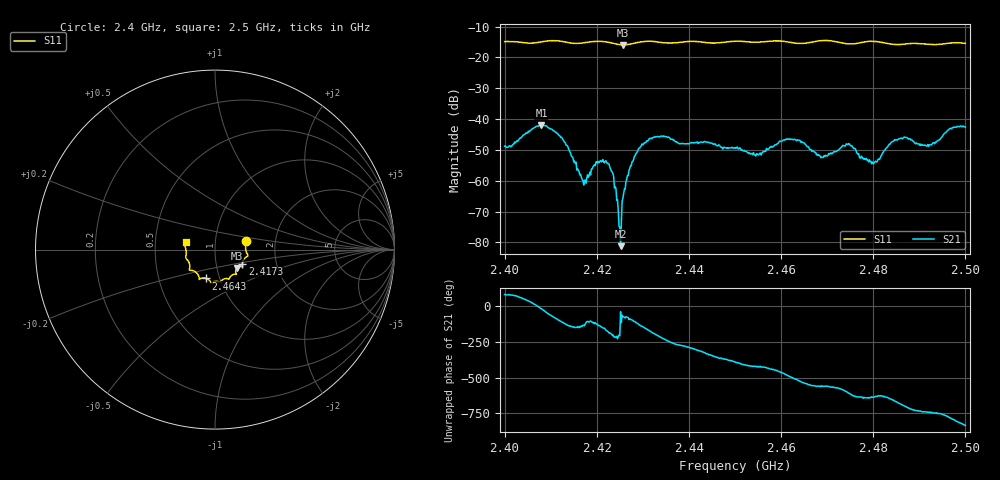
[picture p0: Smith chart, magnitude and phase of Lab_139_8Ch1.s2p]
# Hz S RI R 50
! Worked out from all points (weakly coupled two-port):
!   601 points, 2.4 GHz to 2.5 GHz, reference 50 ohm
!   highest |S21| = -41.97 dB at 2.408 GHz (marker M1); lowest = -81.2 dB at 2.4252 GHz (marker M2)
!   lowest |S11| = -15.9 dB at 2.4257 GHz (marker M3), VSWR 1.38, Z = 62.5 - j13.1 ohm
!   |S11| at or under -10 dB: start of sweep to end of sweep
!   S12 and S22 are empty: the file has one direction only
!   S11 on the Smith chart (normalised r, x): 2.4 GHz: 1.41, +0.14; 2.4173 GHz: 1.34, -0.23; 2.4643 GHz: 0.86, -0.28; 2.5 GHz: 0.72, +0.06
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2.4e9  0.1733 0.0493  0.000439 0.00363  0 0  0 0
2.408e9  0.1777 -0.0206  0.00764 -0.00227  0 0  0 0
2.412667e9  0.1763 -0.0391  -0.00178 -0.00427  0 0  0 0
2.416667e9  0.153 -0.0746  -0.000832 -0.000761  0 0  0 0
2.417333e9  0.1523 -0.082  -0.000728 -0.000715  0 0  0 0
2.422333e9  0.1499 -0.0944  -0.00189 -0.000184  0 0  0 0
2.423667e9  0.1396 -0.0941  -0.000979 0.000636  0 0  0 0
2.424833e9  0.1293 -0.0971  -0.000171 6.52e-05  0 0  0 0
2.425167e9  0.1264 -0.0989  6.89e-05 -5.26e-05  0 0  0 0
2.425667e9  0.1229 -0.1022  0.000159 -0.000494  0 0  0 0
2.426833e9  0.117 -0.1125  0.000244 -0.00119  0 0  0 0
2.428667e9  0.1154 -0.1291  -0.00126 -0.00253  0 0  0 0
2.433333e9  0.1129 -0.137  -0.00469 0.00228  0 0  0 0
2.45e9  0.0293 -0.1808  0.00299 -0.00168  0 0  0 0
2.454667e9  0.00463 -0.1763  0.00131 -0.0024  0 0  0 0
2.464333e9  -0.0499 -0.1606  -0.0041 -0.000763  0 0  0 0
2.466667e9  -0.0759 -0.1596  -0.00289 0.00078  0 0  0 0
2.474667e9  -0.103 -0.1294  -0.00146 0.00372  0 0  0 0
2.480167e9  -0.1432 -0.1129  0.000217 0.00193  0 0  0 0
2.483333e9  -0.1404 -0.0898  0.000851 0.00367  0 0  0 0
2.492167e9  -0.161 -0.0238  0.0035 -0.00152  0 0  0 0
2.5e9  -0.1632 0.0417  -0.00314 -0.00669  0 0  0 0
